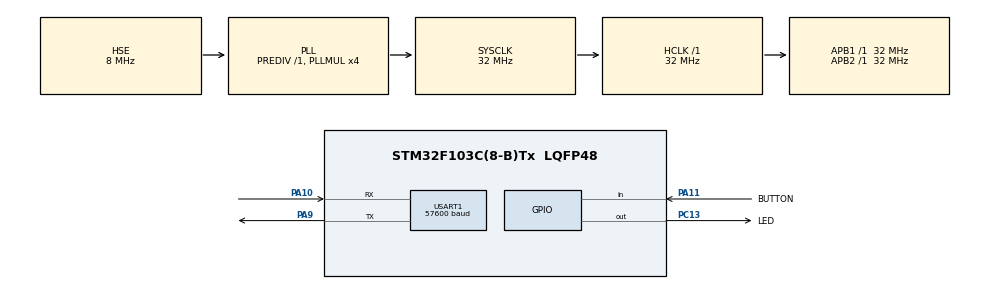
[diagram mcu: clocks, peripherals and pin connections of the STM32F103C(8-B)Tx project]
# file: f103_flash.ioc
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Mcu.Family=STM32F1
RCC.PLLSourceVirtual=RCC_PLLSOURCE_HSE
Dma.USART1_TX.0.MemInc=DMA_MINC_ENABLE
PD1-OSC_OUT.Mode=HSE-External-Oscillator
Dma.USART1_TX.0.PeriphInc=DMA_PINC_DISABLE
PA10.Mode=Asynchronous
USART1.BaudRate=57600
PC13-TAMPER-RTC.Signal=GPIO_Output
PA11.GPIO_Label=BUTTON
PD0-OSC_IN.Signal=RCC_OSC_IN
RCC.SYSCLKSource=RCC_SYSCLKSOURCE_PLLCLK
ProjectManager.StackSize=0x400
PD1-OSC_OUT.Signal=RCC_OSC_OUT
PA13.Signal=SYS_JTMS-SWDIO
PA9.Mode=Asynchronous
Dma.USART1_TX.0.Priority=DMA_PRIORITY_LOW
Dma.USART1_TX.0.Direction=DMA_MEMORY_TO_PERIPH
ProjectManager.TargetToolchain=STM32CubeIDE
RCC.HCLKFreq_Value=32000000
RCC.APB2TimFreq_Value=32000000
PA9.Signal=USART1_TX
RCC.USBFreq_Value=32000000
RCC.AHBFreq_Value=32000000
PD0-OSC_IN.Mode=HSE-External-Oscillator
Dma.USART1_TX.0.Mode=DMA_NORMAL
board=custom
PC13-TAMPER-RTC.GPIO_Label=LED
RCC.PLLMUL=RCC_PLL_MUL4
RCC.APB2Freq_Value=32000000
PA14.Mode=Serial_Wire
PA13.Mode=Serial_Wire
Dma.USART1_TX.0.PeriphDataAlignment=DMA_PDATAALIGN_BYTE
Mcu.Name=STM32F103C(8-B)Tx
RCC.SYSCLKFreq_VALUE=32000000
Mcu.Package=LQFP48
USART1.VirtualMode=VM_ASYNC
PA11.Signal=GPIO_Input
Dma.USART1_TX.0.MemDataAlignment=DMA_MDATAALIGN_BYTE
PA10.Signal=USART1_RX
PA14.Signal=SYS_JTCK-SWCLK
ProjectManager.HeapSize=0x200
Dma.USART1_TX.0.Instance=DMA1_Channel4
NVIC.PriorityGroup=NVIC_PRIORITYGROUP_4
RCC.APB1TimFreq_Value=32000000
NVIC.DMA1_Channel4_IRQn=true\:0\:0\:false\:false\:true\:false\:true
NVIC.USART1_IRQn=true\:0\:0\:false\:false\:true\:true\:true
Dma.Request0=USART1_TX
RCC.APB1Freq_Value=32000000

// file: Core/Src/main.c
/* USER CODE BEGIN Header */
/**
  ******************************************************************************
  * @file           : main.c
  * @brief          : Main program body
  ******************************************************************************
  * @attention
  *
  * <h2><center>&copy; Copyright (c) 2021 STMicroelectronics.
  * All rights reserved.</center></h2>
  *
  * This software component is licensed by ST under BSD 3-Clause license,
  * the "License"; You may not use this file except in compliance with the
  * License. You may obtain a copy of the License at:
  *                        opensource.org/licenses/BSD-3-Clause
  *
  ******************************************************************************
  */
/* USER CODE END Header */
#include "main.h"

/* USER CODE BEGIN Includes */
#include "stdio.h"
#include "string.h"
/* USER CODE END Includes */

/* USER CODE BEGIN PD */
#define msg_SIZE 30

#define FLASH_USER_START_ADDR ADDR_FLASH_PAGE_48 /* Start of user Flash area */
#define FLASH_USER_END_ADDR ADDR_FLASH_PAGE_127 + FLASH_PAGE_SIZE /* End of user Flash area */
#define DATA_32 ((uint32_t)0x12345678)
/* USER CODE END PD */

UART_HandleTypeDef huart1;
DMA_HandleTypeDef hdma_usart1_tx;

/* USER CODE BEGIN PV */
static char UART_msg_TX [msg_SIZE]; // массив для формирования сообщений для вывода по UART
static unsigned char UART_buf_RX [128]; // массив для полученных сообщений по UART
uint8_t * ptr = 0; // указатель на следующий символ в массиве
uint8_t count = 0;
uint8_t symbol = 0;
/*volatile uint8_t index_r = 0;
volatile uint8_t index_w = 0;*/
/* USER CODE END PV */

void SystemClock_Config(void);
static void MX_GPIO_Init(void);
static void MX_DMA_Init(void);
static void MX_USART1_UART_Init(void);

/* USER CODE BEGIN 0 */
void write_flash ()
{

}

//--------------------------------------------колбэк прерывания от UART 1 при передаче половины сообщения------------------------------------//
void HAL_UART_TxHalfCpltCallback(UART_HandleTypeDef *huart)
{
	if(huart == &huart1)
		{

		}
}
/*DMA вызывает два прерывания, первое после отправки половины буфера, а второе при завершении. Чтобы отключить половинку,
нужно в файле stm32f1xx_hal_uart.c найти функцию HAL_UART_Transmit_DMA(...) и закомментировать строку huart->hdmatx->XferHalfCpltCallback = UART_DMATxHalfCplt*/

//--------------------------------------колбэк прерывания от UART 1 при передаче полного сообщения-------------------------------------------//
void HAL_UART_TxCpltCallback(UART_HandleTypeDef *huart)
{
	if(huart == &huart1)
		{

        }
}

//--------------------------------------колбэк прерывания от UART 1 при приёме полного сообщения-------------------------------------------//
void HAL_UART_RxCpltCallback(UART_HandleTypeDef *huart)
{
	if(huart == &huart1)
		{
		sprintf (UART_msg_TX,"Callback\r\n");
		HAL_UART_Transmit_DMA (&huart1, (unsigned char*)UART_msg_TX, strlen(UART_msg_TX));

		HAL_UART_Receive_IT(&huart1, (uint8_t*)&symbol, 1);
/*		count++;
		ptr++;
		if ((UART_buf_RX [count-2] == '\r') && (UART_buf_RX [count-1] == '\n'))
			{
			 count = 0;
			 HAL_UART_Transmit (&huart1, (unsigned char*)UART_msg_TX, strlen(UART_msg_TX), 0xFFFF);
			 ptr = UART_buf_RX;
			}
		HAL_UART_Receive_IT(&huart1, (uint8_t*)ptr, 1);
//		HAL_UART_Receive_IT(&huart1, (uint8_t*)UART_buf_RX, 1);*/
        }
}
/* USER CODE END 0 */

int main(void)
{

  /* MCU Configuration--------------------------------------------------------*/

  /* Reset of all peripherals, Initializes the Flash interface and the Systick. */
  HAL_Init();

  /* Configure the system clock */
  SystemClock_Config();

  /* Initialize all configured peripherals */
  MX_GPIO_Init();
  MX_DMA_Init();
  MX_USART1_UART_Init();
  /* USER CODE BEGIN 2 */
  sprintf (UART_msg_TX,"flash_edit_start\r\n");
  HAL_UART_Transmit_DMA (&huart1, (unsigned char*)UART_msg_TX, strlen(UART_msg_TX));
  HAL_GPIO_WritePin (LED_GPIO_Port, LED_Pin, ENABLE);
  ptr = UART_buf_RX;
  HAL_UART_Receive_IT(&huart1, (uint8_t*)&symbol, 1);
//  HAL_UART_Receive_IT(&huart1, (uint8_t*)ptr, 1);
//  HAL_UART_Receive_IT(&huart1, (uint8_t*)UART_buf_RX, 1);
  /* USER CODE END 2 */

  /* Infinite loop */
  while (1)
  {

    /* USER CODE BEGIN 3 */
	HAL_GPIO_TogglePin (LED_GPIO_Port, LED_Pin);
	sprintf (UART_msg_TX,"led\r\n");
	HAL_UART_Transmit_DMA (&huart1, (unsigned char*)UART_msg_TX, strlen(UART_msg_TX));
	HAL_Delay (1000);
  }
  /* USER CODE END 3 */
}

void SystemClock_Config(void)
{
  RCC_OscInitTypeDef RCC_OscInitStruct = {0};
  RCC_ClkInitTypeDef RCC_ClkInitStruct = {0};

  /** Initializes the RCC Oscillators according to the specified parameters
  * in the RCC_OscInitTypeDef structure.
  */
  RCC_OscInitStruct.OscillatorType = RCC_OSCILLATORTYPE_HSE;
  RCC_OscInitStruct.HSEState = RCC_HSE_ON;
  RCC_OscInitStruct.HSEPredivValue = RCC_HSE_PREDIV_DIV1;
  RCC_OscInitStruct.HSIState = RCC_HSI_ON;
  RCC_OscInitStruct.PLL.PLLState = RCC_PLL_ON;
  RCC_OscInitStruct.PLL.PLLSource = RCC_PLLSOURCE_HSE;
  RCC_OscInitStruct.PLL.PLLMUL = RCC_PLL_MUL4;
  if (HAL_RCC_OscConfig(&RCC_OscInitStruct) != HAL_OK)
  {
    Error_Handler();
  }
  /** Initializes the CPU, AHB and APB buses clocks
  */
  RCC_ClkInitStruct.ClockType = RCC_CLOCKTYPE_HCLK|RCC_CLOCKTYPE_SYSCLK
                              |RCC_CLOCKTYPE_PCLK1|RCC_CLOCKTYPE_PCLK2;
  RCC_ClkInitStruct.SYSCLKSource = RCC_SYSCLKSOURCE_PLLCLK;
  RCC_ClkInitStruct.AHBCLKDivider = RCC_SYSCLK_DIV1;
  RCC_ClkInitStruct.APB1CLKDivider = RCC_HCLK_DIV1;
  RCC_ClkInitStruct.APB2CLKDivider = RCC_HCLK_DIV1;

  if (HAL_RCC_ClockConfig(&RCC_ClkInitStruct, FLASH_LATENCY_1) != HAL_OK)
  {
    Error_Handler();
  }
}

static void MX_USART1_UART_Init(void)
{

  huart1.Instance = USART1;
  huart1.Init.BaudRate = 57600;
  huart1.Init.WordLength = UART_WORDLENGTH_8B;
  huart1.Init.StopBits = UART_STOPBITS_1;
  huart1.Init.Parity = UART_PARITY_NONE;
  huart1.Init.Mode = UART_MODE_TX_RX;
  huart1.Init.HwFlowCtl = UART_HWCONTROL_NONE;
  huart1.Init.OverSampling = UART_OVERSAMPLING_16;
  if (HAL_UART_Init(&huart1) != HAL_OK)
  {
    Error_Handler();
  }

}

static void MX_DMA_Init(void)
{

  /* DMA controller clock enable */
  __HAL_RCC_DMA1_CLK_ENABLE();

  /* DMA interrupt init */
  /* DMA1_Channel4_IRQn interrupt configuration */
  HAL_NVIC_SetPriority(DMA1_Channel4_IRQn, 0, 0);
  HAL_NVIC_EnableIRQ(DMA1_Channel4_IRQn);

}

static void MX_GPIO_Init(void)
{
  GPIO_InitTypeDef GPIO_InitStruct = {0};

  /* GPIO Ports Clock Enable */
  __HAL_RCC_GPIOC_CLK_ENABLE();
  __HAL_RCC_GPIOD_CLK_ENABLE();
  __HAL_RCC_GPIOA_CLK_ENABLE();

  /*Configure GPIO pin Output Level */
  HAL_GPIO_WritePin(LED_GPIO_Port, LED_Pin, GPIO_PIN_RESET);

  /*Configure GPIO pin : LED_Pin */
  GPIO_InitStruct.Pin = LED_Pin;
  GPIO_InitStruct.Mode = GPIO_MODE_OUTPUT_PP;
  GPIO_InitStruct.Pull = GPIO_NOPULL;
  GPIO_InitStruct.Speed = GPIO_SPEED_FREQ_LOW;
  HAL_GPIO_Init(LED_GPIO_Port, &GPIO_InitStruct);

  /*Configure GPIO pin : BUTTON_Pin */
  GPIO_InitStruct.Pin = BUTTON_Pin;
  GPIO_InitStruct.Mode = GPIO_MODE_INPUT;
  GPIO_InitStruct.Pull = GPIO_NOPULL;
  HAL_GPIO_Init(BUTTON_GPIO_Port, &GPIO_InitStruct);

}

void Error_Handler(void)
{
  __disable_irq();
  while (1)
  {
  }
}

/************************ (C) COPYRIGHT STMicroelectronics *****END OF FILE****/
